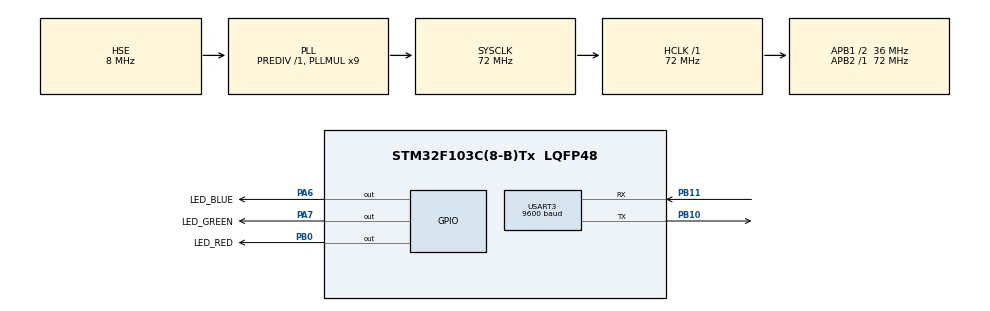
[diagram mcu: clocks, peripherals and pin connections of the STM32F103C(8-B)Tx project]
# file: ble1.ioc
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Dma.Request0=USART3_RX
Dma.Request1=USART3_TX
Dma.USART3_RX.0.Direction=DMA_PERIPH_TO_MEMORY
Dma.USART3_RX.0.Instance=DMA1_Channel3
Dma.USART3_RX.0.MemDataAlignment=DMA_MDATAALIGN_BYTE
Dma.USART3_RX.0.MemInc=DMA_MINC_ENABLE
Dma.USART3_RX.0.Mode=DMA_NORMAL
Dma.USART3_RX.0.PeriphDataAlignment=DMA_PDATAALIGN_BYTE
Dma.USART3_RX.0.PeriphInc=DMA_PINC_DISABLE
Dma.USART3_RX.0.Priority=DMA_PRIORITY_LOW
Dma.USART3_TX.1.Direction=DMA_MEMORY_TO_PERIPH
Dma.USART3_TX.1.Instance=DMA1_Channel2
Dma.USART3_TX.1.MemDataAlignment=DMA_MDATAALIGN_BYTE
Dma.USART3_TX.1.MemInc=DMA_MINC_ENABLE
Dma.USART3_TX.1.Mode=DMA_NORMAL
Dma.USART3_TX.1.PeriphDataAlignment=DMA_PDATAALIGN_BYTE
Dma.USART3_TX.1.PeriphInc=DMA_PINC_DISABLE
Dma.USART3_TX.1.Priority=DMA_PRIORITY_LOW
Mcu.Family=STM32F1
Mcu.Name=STM32F103C(8-B)Tx
Mcu.Package=LQFP48
NVIC.DMA1_Channel2_IRQn=true\:0\:0\:false\:false\:true\:false\:true\:true
NVIC.DMA1_Channel3_IRQn=true\:0\:0\:false\:false\:true\:false\:true\:true
NVIC.PriorityGroup=NVIC_PRIORITYGROUP_4
NVIC.USART3_IRQn=true\:0\:0\:false\:false\:true\:true\:true\:true
PA13.Mode=Serial_Wire
PA13.Signal=SYS_JTMS-SWDIO
PA14.Mode=Serial_Wire
PA14.Signal=SYS_JTCK-SWCLK
PA6.GPIO_Label=LED_BLUE
PA6.Signal=GPIO_Output
PA7.GPIO_Label=LED_GREEN
PA7.Signal=GPIO_Output
PB0.GPIO_Label=LED_RED
PB0.Signal=GPIO_Output
PB10.Mode=Asynchronous
PB10.Signal=USART3_TX
PB11.Mode=Asynchronous
PB11.Signal=USART3_RX
PD0-OSC_IN.Mode=HSE-External-Oscillator
PD0-OSC_IN.Signal=RCC_OSC_IN
PD1-OSC_OUT.Mode=HSE-External-Oscillator
PD1-OSC_OUT.Signal=RCC_OSC_OUT
ProjectManager.HeapSize=0x200
ProjectManager.StackSize=0x400
ProjectManager.TargetToolchain=STM32CubeIDE
RCC.AHBFreq_Value=72000000
RCC.APB1CLKDivider=RCC_HCLK_DIV2
RCC.APB1Freq_Value=36000000
RCC.APB1TimFreq_Value=72000000
RCC.APB2Freq_Value=72000000
RCC.APB2TimFreq_Value=72000000
RCC.HCLKFreq_Value=72000000
RCC.PLLMUL=RCC_PLL_MUL9
RCC.PLLSourceVirtual=RCC_PLLSOURCE_HSE
RCC.SYSCLKFreq_VALUE=72000000
RCC.SYSCLKSource=RCC_SYSCLKSOURCE_PLLCLK
RCC.USBFreq_Value=72000000
USART3.BaudRate=9600
USART3.VirtualMode=VM_ASYNC
board=custom

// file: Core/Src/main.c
/* USER CODE BEGIN Header */
/**
  ******************************************************************************
  * @file           : main.c
  * @brief          : Main program body
  ******************************************************************************
  * @attention
  *
  * Copyright (c) 2024 STMicroelectronics.
  * All rights reserved.
  *
  * This software is licensed under terms that can be found in the LICENSE file
  * in the root directory of this software component.
  * If no LICENSE file comes with this software, it is provided AS-IS.
  *
  ******************************************************************************
  */
/* USER CODE END Header */
#include "main.h"
#include "dma.h"
#include "usart.h"
#include "gpio.h"

/* USER CODE BEGIN PV */
uint8_t rx_buffer[100];
/* USER CODE END PV */

void SystemClock_Config(void);

/* USER CODE BEGIN 0 */
void HAL_UARTEx_RxEventCallback(UART_HandleTypeDef *huart, uint16_t Size)
{
  if (huart==&huart3)
  {
    HAL_UART_Transmit_DMA(&huart3, rx_buffer, Size);

    if (rx_buffer[0]==0xAA)
    {
      if (rx_buffer[1]==Size)
      {
        uint8_t sum=0;
        for (int i =0;i<Size-1;i++)
        {
          sum+=rx_buffer[i];
        }
        if (sum==rx_buffer[Size-1])
        {
          for (int i=2;i<Size-1;i+=2)
          {
            GPIO_PinState state=GPIO_PIN_SET;
            if (rx_buffer[i+1]==0x00)
            {
              state=GPIO_PIN_RESET;
            }
            if (rx_buffer[i]==0x01)
            {
              HAL_GPIO_WritePin(LED_RED_GPIO_Port, LED_RED_Pin, state);
            }else if(rx_buffer[i]==0x02)
              {
                HAL_GPIO_WritePin(LED_GREEN_GPIO_Port, LED_GREEN_Pin, state);
              }else if (rx_buffer[i]==0x03)
              {
                HAL_GPIO_WritePin(LED_BLUE_GPIO_Port, LED_BLUE_Pin, state);
              }
          }
        }
      }
    }
    HAL_UARTEx_ReceiveToIdle_DMA(&huart3, rx_buffer, sizeof(rx_buffer));
    __HAL_DMA_DISABLE_IT(&hdma_usart3_rx, DMA_IT_TC);
  }
}

/* USER CODE END 0 */

int main(void)
{

  /* MCU Configuration--------------------------------------------------------*/

  /* Reset of all peripherals, Initializes the Flash interface and the Systick. */
  HAL_Init();

  /* Configure the system clock */
  SystemClock_Config();

  /* Initialize all configured peripherals */
  MX_GPIO_Init();
  MX_DMA_Init();
  MX_USART3_UART_Init();
  /* USER CODE BEGIN 2 */
  HAL_UARTEx_ReceiveToIdle_DMA(&huart3, rx_buffer, 100);
  __HAL_DMA_DISABLE_IT(&hdma_usart3_rx, DMA_IT_TC);
  /* USER CODE END 2 */

  /* Infinite loop */
  while (1)
  {

  }
}

void SystemClock_Config(void)
{
  RCC_OscInitTypeDef RCC_OscInitStruct = {0};
  RCC_ClkInitTypeDef RCC_ClkInitStruct = {0};

  /** Initializes the RCC Oscillators according to the specified parameters
  * in the RCC_OscInitTypeDef structure.
  */
  RCC_OscInitStruct.OscillatorType = RCC_OSCILLATORTYPE_HSE;
  RCC_OscInitStruct.HSEState = RCC_HSE_ON;
  RCC_OscInitStruct.HSEPredivValue = RCC_HSE_PREDIV_DIV1;
  RCC_OscInitStruct.HSIState = RCC_HSI_ON;
  RCC_OscInitStruct.PLL.PLLState = RCC_PLL_ON;
  RCC_OscInitStruct.PLL.PLLSource = RCC_PLLSOURCE_HSE;
  RCC_OscInitStruct.PLL.PLLMUL = RCC_PLL_MUL9;
  if (HAL_RCC_OscConfig(&RCC_OscInitStruct) != HAL_OK)
  {
    Error_Handler();
  }

  /** Initializes the CPU, AHB and APB buses clocks
  */
  RCC_ClkInitStruct.ClockType = RCC_CLOCKTYPE_HCLK|RCC_CLOCKTYPE_SYSCLK
                              |RCC_CLOCKTYPE_PCLK1|RCC_CLOCKTYPE_PCLK2;
  RCC_ClkInitStruct.SYSCLKSource = RCC_SYSCLKSOURCE_PLLCLK;
  RCC_ClkInitStruct.AHBCLKDivider = RCC_SYSCLK_DIV1;
  RCC_ClkInitStruct.APB1CLKDivider = RCC_HCLK_DIV2;
  RCC_ClkInitStruct.APB2CLKDivider = RCC_HCLK_DIV1;

  if (HAL_RCC_ClockConfig(&RCC_ClkInitStruct, FLASH_LATENCY_2) != HAL_OK)
  {
    Error_Handler();
  }
}

void Error_Handler(void)
{
  __disable_irq();
  while (1)
  {
  }
}
